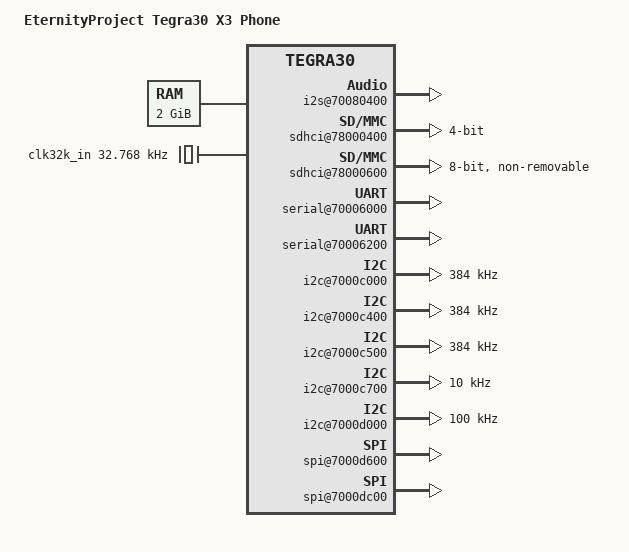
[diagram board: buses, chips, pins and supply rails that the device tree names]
/dts-v1/;

/include/ "tegra30.dtsi"

/**
 * This file contains DeviceTree entry for production version of X3.
 * May contain portions of code from EternityProject DT for ENR#U.
 *
 * Used symbols:
 * *M*: MUX
 * *P*: PULL
 * *S*: STATE
 * *L*: LOCK
 * *D*: DRAIN
 *
 * NC: Not Classified
 * TP: Test Point
 * EPH: External pull high
 * EPD: External pull down
 * (I): Input ONLY
 *
 * Copyright (C) 2013, EternityProject Development
 * Angelo G. Del Regno <kholk11@gmail.com>
 */

/* [TODO] Define:
 * 1. Sensors (Proximity, ambient light, accelerometer)
 * 2. Regulators
 * 3. Power rails of regulator
 * 4. What about physical buttons? (PWR, VOLUP, VOLDN)
 */

/ {
	model = "EternityProject Tegra30 X3 Phone";
	compatible = "nvidia,x3", "nvidia,tegra30";

	memory {
		reg = <0x80000000 0x80000000>;
	};

	pinmux {
		pinctrl-names = "default";
		pinctrl-0 = <&state_default>;

		state_default: pinmux {

			/* I2C MUX */
			gen1_i2c_scl_pc4 {
				nvidia,pins =	"gen1_i2c_scl_pc4",	/* UNKNOWN           */
						"gen1_i2c_sda_pc5";	/* UNKNOWN           */
				nvidia,function = "i2c1";
				nvidia,pull = <0>;			/* NORMAL     *P*/
				nvidia,tristate = <0>;			/* NORMAL     *S*/
				nvidia,enable-input = <1>;
				nvidia,lock = <0>;			/* UNLOCKED   *L*/
				nvidia,open-drain = <0>;		/* DISABLED   *D*/
			};

			gen2_i2c_scl_pt5 {
				nvidia,pins =	"gen2_i2c_scl_pt5",	/* MUIC_INIT         */
						"gen2_i2c_sda_pt6";	/* MUIC_INIT         */
				nvidia,function = "i2c2";
				nvidia,pull = <2>;			/* PULL_UP    *P*/
				nvidia,tristate = <0>;
				nvidia,enable-input = <1>;
				nvidia,lock = <0>;
				nvidia,open-drain = <0>;
			};

			cam_i2c_scl_pbb1 {
				nvidia,pins =	"cam_i2c_scl_pbb1",	/* CAM_I2C_SCL       */
						"cam_i2c_sda_pbb2";	/* CAM_I2C_SDA       */
				nvidia,function = "i2c3";
				nvidia,pull = <0>;
				nvidia,tristate = <0>;
				nvidia,enable-input = <1>;
				nvidia,lock = <0>;
				nvidia,open-drain = <0>;
			};

			ddc_scl_pv4 {
				nvidia,pins =	"ddc_scl_pv4",		/* HDMI_EDID         */
						"ddc_sda_pv5";		/* HDMI_EDID         */
				nvidia,function = "i2c4";
				nvidia,pull = <0>;
				nvidia,tristate = <0>;
				nvidia,enable-input = <1>;
				nvidia,lock = <0>;
				nvidia,open-drain = <0>;
			};

			pwr_i2c_scl_pz6 {
				nvidia,pins =	"pwr_i2c_scl_pz6",	/* UNKNOWN           */
						"pwr_i2c_sda_pz7";	/* UNKNOWN           */
				nvidia,function = "i2cpwr";
				nvidia,pull = <0>;
				nvidia,tristate = <0>;
				nvidia,enable-input = <1>;
				nvidia,lock = <0>;
				nvidia,open-drain = <0>;
			};

			/* 32k clock OUT: !!NC!! */
			clk_32k_out_pa0 {
				nvidia,pins = "clk_32k_out_pa0";	/* UNKNOWN           */
				nvidia,function = "blink";
				nvidia,pull = <0>;
				nvidia,tristate = <0>;
				nvidia,enable-input = <1>; /* Why the hell?! */
			};

			/* SDMMC3: TI WL1283 SDIO */
			sdmmc3_clk_pa6 {
				nvidia,pins = "sdmmc3_clk_pa6";		/* MICROSD_CLK       */
				nvidia,function = "sdmmc3";		/* SDMMC3 MUX *M*/
				nvidia,pull = <0>;			/* NORMAL     *P*/
				nvidia,tristate = <0>;
				nvidia,enable-input = <1>;
			};
			sdmmc3_cmd_pa7 {
				nvidia,pins =	"sdmmc3_cmd_pa7",	/* MICROSD_CMD       */
						"sdmmc3_dat0_pb7",	/* MICROSD_DAT0      */
						"sdmmc3_dat1_pb6",	/* MICROSD_DAT1      */
						"sdmmc3_dat2_pb5",	/* MICROSD_DAT2      */
						"sdmmc3_dat3_pb4";	/* MICROSD_DAT3      */
				nvidia,function = "sdmmc3";		/* SDMMC3 MUX *M*/
				nvidia,pull = <2>;			/* PULL_UP    *P*/
				nvidia,tristate = <0>;
				nvidia,enable-input = <1>;
			};

			/* SDMMC4: EMMC */
			sdmmc4_clk_pcc4 {
				nvidia,pins =	"sdmmc4_clk_pcc4";	/* eMMC_CLK          */
				nvidia,function = "sdmmc4";
				nvidia,pull = <0>;
				nvidia,tristate = <0>;
				nvidia,enable-input = <1>;
			};
			sdmmc4_rst_n_pcc3 {
				nvidia,pins =	"sdmmc4_rst_n_pcc3";	/* eMMC_RST_N        */
				nvidia,function = "rsvd1";
				nvidia,pull = <1>;			/* PULL_DOWN  *P*/
				nvidia,tristate = <0>;
				nvidia,enable-input = <1>;
			};
			sdmmc4_cmd_pt7 {
				nvidia,pins =	"sdmmc4_cmd_pt7",	/* eMMC_CMD          */
						"sdmmc4_dat0_paa0",	/* eMMC_DAT0         */
						"sdmmc4_dat1_paa1",	/* eMMC_DAT1         */
						"sdmmc4_dat2_paa2",	/* eMMC_DAT2         */
						"sdmmc4_dat3_paa3",	/* eMMC_DAT3         */
						"sdmmc4_dat4_paa4",	/* eMMC_DAT4         */
						"sdmmc4_dat5_paa5",	/* eMMC_DAT5         */
						"sdmmc4_dat6_paa6",	/* eMMC_DAT6         */
						"sdmmc4_dat7_paa7";	/* eMMC_DAT7         */
				nvidia,function="sdmmc4";
				nvidia,pull = <2>;			/* PULL_UP    *P*/
				nvidia,tristate = <0>;
				nvidia,enable-input = <1>;
			};

			/* UART2: UNKNOWN */
			uart2_txd_pc2 {
				nvidia,pins =	"uart2_txd_pc2";	/* UNKNOWN         */
				nvidia,function = "irda";
				nvidia,pull = <2>;
				nvidia,tristate = <0>;
				nvidia,enable-input = <1>;
			};
			uart2_rxd_pc3 {
				nvidia,pins =	"uart2_rxd_pc3";	/* UNKNOWN         */
				nvidia,function = "irda";
				nvidia,pull = <2>;
				nvidia,tristate = <0>;
				nvidia,enable-input = <0>;
			};
			uart2_cts_n_pj5 {
				nvidia,pins =	"uart2_cts_n_pj5",	/* UNKNOWN         */
						"uart2_rts_n_pj6";	/* UNKNOWN         */
				nvidia,function = "uartb";
				nvidia,pull = <0>;
				nvidia,tristate = <0>;
				nvidia,enable-input = <1>;
			};

			/* UART3: Bluetooth BCM4330 UART I/F */
			uart3_txd_pw6 {
				nvidia,pins =	"uart3_txd_pw6",	/* BT_RX_AP_TX     */
						"uart3_rts_n_pc0";	/* BT_CTS_AP_RTS   */
				nvidia,function = "uartc";		/* UARTC MUX  *M*/
				nvidia,pull = <0>;			/* NORMAL     *P*/
				nvidia,tristate = <0>;
				nvidia,enable-input = <0>;
			};
			uart3_rxd_pw7 {
				nvidia,pins =	"uart3_rxd_pw7",	/* BT_TX_AP_RX     */
						"uart3_cts_n_pa1";	/* BT_RTS_AP_CTS   */
				nvidia,function = "uartc";
				nvidia,pull = <0>;
				nvidia,tristate = <0>;
				nvidia,enable-input = <1>;
			};

			/* DAP1: MDM6600 INTERRUPTS???? */
			dap1_fs_pn0 {
				nvidia,pins =	"dap1_fs_pn0",		/* UNKNOWN          */
						"dap1_din_pn1",		/* UNKNOWN          */
						"dap1_dout_pn2",	/* UNKNOWN          */
						"dap1_sclk_pn3";	/* UNKNOWN          */
				nvidia,function = "i2s0";
				nvidia,pull = <0>;
				nvidia,tristate = <0>;
				nvidia,enable-input = <1>;
			};

			/* DAP2: AUDIO CODEC */
			dap2_fs_pa2 {
				nvidia,pins =	"dap2_fs_pa2",		/* UNKNOWN          */
						"dap2_sclk_pa3",	/* UNKNOWN          */
						"dap2_din_pa4",		/* UNKNOWN          */
						"dap2_dout_pa5";	/* UNKNOWN          */
				nvidia,function = "hda";
				nvidia,pull = <1>;			/* PULL_DOWN  *P*/
				nvidia,tristate = <0>;
				nvidia,enable-input = <1>;
			};

			/* DAP3: UNKNOWN */
			dap3_fs_pp0 {
				nvidia,pins =	"dap3_fs_pp0",		/* UNKNOWN          */
						"dap3_din_pp1",		/* UNKNOWN          */
						"dap3_dout_pp2",	/* UNKNOWN          */
						"dap3_sclk_pp3";	/* UNKNOWN          */
				nvidia,function = "i2s2";
				nvidia,pull = <0>;
				nvidia,tristate = <0>;
				nvidia,enable-input = <1>;
			};

			/* DAP4 I2S3: Bluetooth BCM4330 PCM I/F */
			dap4_din_pp1 {
				nvidia,pins =	"dap4_din_pp1",		/* BT_PCM_DIN       */
						"dap4_dout_pp6",	/* BT_PCM_DOUT      */
						"dap4_sclk_pp3",	/* BT_PCM_CLK       */
						"dap4_fs_pp4";		/* BT_PCM_SYNC      */
				nvidia,function = "i2s3";
				nvidia,pull = <0>;			/* NORMAL     *P*/
				nvidia,tristate = <0>;
				nvidia,enable-input = <1>;
			};

			/* SPDIF CONTROL */
			spdif_out_pk5 {
				nvidia,pins =	"spdif_out_pk5";	/* NC                */
				nvidia,function = "spdif";
				nvidia,pull = <2>;
				nvidia,tristate = <1>;
			};
			spdif_in_pk6 {
				nvidia,pins =	"spdif_in_pk6";		/* NC                */
				nvidia,function = "spdif";
				nvidia,pull = <0>;
				nvidia,tristate = <0>;
			};

			/* LCD PINS: MHL, MDM6600, CAM, PANEL */
			lcd_d0_pe0 {
				nvidia,pins =	"lcd_d0_pe0",		/* LCD_RGB_RGB_B_2   */
						"lcd_d1_pe1",		/* LCD_RGB_RGB_B_3   */
						"lcd_d2_pe0",		/* LCD_RGB_RGB_B_4   */
						"lcd_d3_pe3",		/* LCD_RGB_RGB_B_5   */
						"lcd_d4_pe4",		/* LCD_RGB_RGB_B_6   */
						"lcd_d5_pe5",		/* LCD_RGB_RGB_B_7   */
						"lcd_d6_pe6",		/* LCD_RGB_RGB_G_2   */
						"lcd_d7_pe7",		/* LCD_RGB_RGB_G_3   */
						"lcd_d8_pf0",		/* LCD_RGB_RGB_G_4   */
						"lcd_d9_pf1",		/* LCD_RGB_RGB_G_5   */
						"lcd_d10_pf2",		/* LCD_RGB_RGB_G_6   */
						"lcd_d11_pf3",		/* LCD_RGB_RGB_G_7   */
						"lcd_d12_pf4",		/* LCD_RGB_RGB_R_2   */
						"lcd_d13_pf5",          /* LCD_RGB_RGB_R_3   */
						"lcd_d14_pf6",		/* LCD_RGB_RGB_R_4   */
						"lcd_d15_pf7",		/* LCD_RGB_RGB_R_5   */
						"lcd_d16_pm0",		/* LCD_RGB_RGB_R_6   */
						"lcd_d17_pm1",		/* LCD_RGB_RGB_R_7   */
						"lcd_d18_pm2",		/* LCD_RGB_RGB_B_0   */
						"lcd_d19_pm3",		/* LCD_RGB_RGB_B_1   */
						"lcd_d20_pm4",          /* LCD_RGB_RGB_G_0   */
						"lcd_d21_pm5",		/* LCD_RGB_RGB_G_1   */
						"lcd_d22_pm6",		/* LCD_RGB_RGB_R_0   */
						"lcd_d23_pm7",		/* LCD_RGB_RGB_R_1   */
						"lcd_pclk_pb3",		/* LCD_RGB_PCLK      */
						"lcd_de_pj1",		/* LCD_RGB_DE        */
						"lcd_hsync_pj3",	/* LCD_RGB_HSYNC     */
						"lcd_vsync_pj4",	/* LCD_RGB_VSYNC     */
						"lcd_wr_n_pz3";		/* UNKNOWN           */
				nvidia,function = "displaya";
				nvidia,pull = <0>;			/* NORMAL     *P*/
				nvidia,tristate = <0>;
				nvidia,enable-input = <1>;
			};

			lcd_m1_pw1 {
				nvidia,pins =	"lcd_m1_pw1";		/* LCD_MAKER_ID      */
				nvidia,function = "displaya";
				nvidia,pull = <0>;			/* NORMAL     *P*/
				nvidia,tristate = <1>;			
			};

			lcd_pwr0_pb2 {
				nvidia,pins =	"lcd_pwr0_pb2",		/* UNKNOWN           */
						"lcd_pwr1_pc1";		/* UNKNOWN           */
				nvidia,function = "displaya";
				nvidia,pull = <0>;
				nvidia,tristate = <0>;
				nvidia,enable-input = <0>;
			};

			lcd_sdout_pn5 {
				nvidia,pins =	"lcd_sdout_pn5",	/* LCD_RGB_SDO       */
						"lcd_sdin_pz2",		/* LCD_RGB_SDI       */
						"lcd_sck_pz4",		/* LCD_RGB_SCL       */
						"lcd_cs0_n_pn4";        /* LCD_RGB_CS        */
				nvidia,function = "spi5";
				nvidia,pull = <0>;
				nvidia,tristate = <0>;
				nvidia,enable-input = <1>;
			};

			lcd_cs1_n_pw0 {
				nvidia,pins =	"lcd_cs1_n_pw0";	/* LCD_RESET_N       */
				nvidia,function = "rsvd2";
				nvidia,pull = <2>;			/* PULL_UP    *P*/
				nvidia,tristate = <0>;
				nvidia,enable-input = <0>;
			};

			lcd_dc0_pn6 {
				nvidia,pins =	"lcd_dc0_pn6",		/* UNKNOWN           */
						"lcd_dc1_pd2";		/* SENSOR_LDO_EN_2   */
				nvidia,function = "rsvd1";
				nvidia,pull = <0>;			/* NORMAL     *P*/
				nvidia,tristate = <0>;
				nvidia,enable-input = <0>;
			};

			/* GMI PINS */
			gmi_ad0_pg0 {
				nvidia,pins =	"gmi_ad0_pg0",		/* UNKNOWN           */
						"gmi_ad1_pg1",		/* UNKNOWN           */
						"gmi_ad2_pg2",		/* UNKNOWN           */
						"gmi_ad3_pg3",		/* UNKNOWN           */
						"gmi_ad4_pg4",		/* UNKNOWN           */
						"gmi_ad5_pg5",		/* UNKNOWN           */
						"gmi_ad6_pg6",		/* UNKNOWN           */
						"gmi_ad7_pg7",		/* UNKNOWN           */
						"gmi_ad15_ph7";		/* UNKNOWN           */
				nvidia,function = "gmi";
				nvidia,pull = <0>;
				nvidia,tristate = <1>;
				nvidia,enable-input = <1>;
			};

			gmi_ad8_ph0 {
				nvidia,pins =	"gmi_ad8_ph0",		/* UNKNOWN           */
						"gmi_ad9_ph1";		/* UNKNOWN           */
				nvidia,function = "gmi";
				nvidia,pull = <1>;			/* PULL_DOWN  *P*/
				nvidia,tristate = <0>;
				nvidia,enable-input = <1>;
			};

			gmi_ad10_ph2 {
				nvidia,pins = "gmi_ad10_ph2";		/* SENSOR_LDO_EN(AMI)*/
				nvidia,function = "gmi";
				nvidia,pull = <0>;			/* NORMAL     *P*/
				nvidia,tristate = <0>;
			};

/*			gmi_cs0_n_pj0 {
				nvidia,pins = "gmi_cs0_n_pj0";
				nvidia,function = "gmi";
				nvidia,pull = <2>;
				nvidia,tristate = <1>;
				nvidia,enable-input = <1>;
			};*/

			gmi_cs0_n_pj0 {
				nvidia,pins = "gmi_cs0_n_pj0";		/* MUIC_INIT         */
				nvidia,function = "rsvd1";
				nvidia,pull = <2>;			/* PULL_UP    *P*/
				nvidia,tristate = <0>;
				nvidia,enable-input = <1>;
			};

			gmi_cs1_n_pj2 {
				nvidia,pins =	"gmi_cs1_n_pj2",	/* UNKNOWN           */
						"gmi_cs4_n_pk2";	/* PROX_AMBIENT_INT  */
				nvidia,function = "rsvd1";
				nvidia,pull = <2>;			/* PULL_UP    *P*/
				nvidia,tristate = <0>;
				nvidia,enable-input = <1>;
			};

			gmi_cs2_n_pk3 {
				nvidia,pins =	"gmi_cs2_n_pk3",	/* NC                */
						"gmi_cs3_n_pk4";        /* NC                */
				nvidia,function = "rsvd1";
				nvidia,pull = <0>;
				nvidia,tristate = <0>;
				nvidia,enable-input = <0>;
			};

			gmi_cs7_n_pi6 {
				nvidia,pins =	"gmi_cs7_n_pi6";	/* UNKNOWN           */
				nvidia,function = "rsvd1";
				nvidia,pull = <2>;			/* PULL_UP    *P*/
				nvidia,tristate = <0>;
				nvidia,enable-input = <1>;
			};


			gmi_ad11_ph3 {
				nvidia,pins =	"gmi_ad11_ph3";		/* NC                */
				nvidia,function = "pwm3";
				nvidia,pull = <0>;
				nvidia,tristate = <0>;
			};

			gmi_ad12_ph4 {
				nvidia,pins =	"gmi_ad12_ph4",		/* SENSOR_INT-MPU6050*/
						"gmi_ad13_ph5";		/* COMPASS_READY(AMI)*/
				nvidia,function = "rsvd2";
				nvidia,pull = <2>;
				nvidia,tristate = <0>;
				nvidia,enable-input = <1>;
			};

			gmi_ad14_ph6 {
				nvidia,pins =	"gmi_ad14_ph6";		/* UNKNOWN           */
				nvidia,function = "gmi";
				nvidia,pull = <0>;
				nvidia,tristate = <0>;
			};

			gmi_a16_pj7 {
				nvidia,pins =	"gmi_a16_pj7",		/* UNKNOWN           */
						"gmi_a19_pk7";		/* UNKNOWN           */
				nvidia,function = "uartd";
				nvidia,pull = <0>;
				nvidia,tristate = <0>;
			};
			gmi_a17_pb0 {
				nvidia,pins =	"gmi_a17_pb0";		/* UNKNOWN           */
				nvidia,function = "uartd";
				nvidia,pull = <0>;			/* NORMAL     *P*/
				nvidia,tristate = <0>;
				nvidia,enable-input = <1>;
			};
			gmi_a18_pb1 {
				nvidia,pins =	"gmi_a18_pb1";		/* RGB_IC_EN         */
				nvidia,function = "gmi";
				nvidia,pull = <1>;			/* PULL_DOWN  *P*/
				nvidia,tristate = <0>;
				nvidia,enable-input = <0>;
			};

			gmi_wr_n_pi0 {
				nvidia,pins =	"gmi_wr_n_pi0";		/* UNKNOWN           */
				nvidia,function = "gmi";
				nvidia,pull = <0>;
				nvidia,tristate = <0>;
				nvidia,enable-input = <1>;
			};

			gmi_oe_n_pi1 {
				nvidia,pins =	"gmi_oe_n_pi1";		/* UNKNOWN           */
				nvidia,function = "rsvd1";
				nvidia,pull = <0>;
				nvidia,tristate = <1>;
				nvidia,enable-input = <1>;
			};

			gmi_dqs_pi2 {
				nvidia,pins =	"gmi_dqs_pi2";		/* UNKNOWN           */
				nvidia,function = "gmi";
				nvidia,pull = <0>;
				nvidia,tristate = <0>;
				nvidia,enable-input = <1>;
			};

			gmi_adv_n_pk0 {
				nvidia,pins =	"gmi_adv_n_pk0",	/* UNKNOWN           */
						"gmi_clk_pk1";		/* UNKNOWN           */
				nvidia,function = "gmi";
				nvidia,pull = <0>;
				nvidia,tristate = <0>;
				nvidia,enable-input = <1>;
			};

			gmi_wait_pi7 {
				nvidia,pins =	"gmi_wait_pi7",		/* UNKNOWN           */
						"gmi_rst_n_pi4";
				nvidia,function = "gmi";
				nvidia,pull = <2>;
				nvidia,tristate = <0>;
				nvidia,enable-input = <1>;
			};

			gmi_cs6_n_pi3 {
				nvidia,pins =	"gmi_cs6_n_pi3";	/* UNKNOWN           */
				nvidia,function = "gmi";
				nvidia,pull = <2>;			/* PULL_UP    *P*/
				nvidia,tristate = <0>;
				nvidia,enable-input = <1>;
			};

			gmi_wp_n_pc7 {
				nvidia,pins =	"gmi_wp_n_pc7";		/* POWER_KEY???      */
				nvidia,function = "gmi";
				nvidia,pull = <2>;			/* PULL_UP    *P*/
				nvidia,tristate = <0>;
				nvidia,enable-input = <1>;
			};

			gmi_iordy_pi5 {
				nvidia,pins =	"gmi_iordy_pi5";	/* SDMMC1 CD GPIO    */
				nvidia,function = "rsvd1";
				nvidia,pull = <2>;			/* PULL_UP    *P*/
				nvidia,tristate = <0>;                  /* NORMAL     *S*/
				nvidia,enable-input = <1>;
			};

			/* TEGRA KEYBOARD PINS */
			kb_col0_pq0 {
				nvidia,pins =	"kb_col0_pq0",		/* NC                */
						"kb_col2_pq2",		/* TOUCH_MAKER_ID    */
						"kb_col4_pq4",		/* NC                */
						"kb_col5_pq5";		/* NC                */
				nvidia,function = "kbc";
				nvidia,pull = <2>;			/* PULL_UP    *P*/
				nvidia,tristate = <0>;
				nvidia,enable-input = <1>;
			};

			kb_col1_pq1 {
				nvidia,pins =	"kb_col1_pq1";		/* TOUCH_LDO_EN       */
				nvidia,function = "kbc";
				nvidia,pull = <0>;
				nvidia,tristate = <0>;
				nvidia,enable-input = <1>;
			};
			kb_col3_pq3 {
				nvidia,pins =	"kb_col3_pq3";		/* TOUCH_INT_N       */
				nvidia,function = "kbc";
				nvidia,pull = <0>;
				nvidia,tristate = <0>;
				nvidia,enable-input = <0>;
			};

			/* TEGRA KEYBOARD PINS (REMAPPED) */
			kb_row0_pr0 {
				nvidia,pins =	"kb_row0_pr0";		/* NFC_MODE      */
				nvidia,function = "rsvd";
				nvidia,pull = <0>;
				nvidia,tristate = <0>;			/* TRISTATE?? *S*/
				nvidia,enable-input = <0>;
			};

			kb_row1_pr1 {
				nvidia,pins =	"kb_row1_pr1",		/* UNKNOWN           */
						"kb_row8_ps0",		/* UNKNOWN           */
						"kb_row13_ps5";		/* CP_CRASH_INT      */
				nvidia,function = "kbc";
				nvidia,pull = <0>;
				nvidia,tristate = <0>;
			};

			kb_row2_pr2 {
				nvidia,pins =	"kb_row2_pr2";		/* UNKNOWN           */
				nvidia,function = "rsvd3";
				nvidia,pull = <1>;
				nvidia,tristate = <0>;
				nvidia,enable-input = <0>;
			};

			kb_row3_pr3 {
				nvidia,pins =	"kb_row3_pr3";		/* PROXI_LDO_EN-APDS */
				nvidia,function = "rsvd2";
				nvidia,pull = <0>;
				nvidia,tristate = <0>;
				nvidia,enable-input = <0>;
			};

			kb_row4_pr4 {
				nvidia,pins =	"kb_row4_pr4";		/* UNKNOWN           */
				nvidia,function = "rsvd3";
				nvidia,pull = <1>;
				nvidia,tristate = <0>;
				nvidia,enable-input = <0>;
			};

			kb_row6_pr6 {
				nvidia,pins =	"kb_row6_pr6",		/* UNKNOWN           */
						"kb_row7_pr7",		/* UNKNOWN           */
						"kb_row9_ps1",		/* UNKNOWN           */
						"kb_row10_ps2",		/* UNKNOWN           */
						"kb_row12_ps4";		/* BT_HOST_WAKEUP    */
				nvidia,function = "kbc";
				nvidia,pull = <1>;
				nvidia,tristate = <0>;
				nvidia,enable-input = <1>;
			};

			kb_row11_ps3 {
				nvidia,pins =	"kb_row11_ps3";		/* BT_WAKEUP         */
				nvidia,function = "kbc";
				nvidia,pull = <1>;
				nvidia,tristate = <0>;
				nvidia,enable-input = <0>;
			};

			kb_row14_ps6 {
				nvidia,pins =	"kb_row14_ps6";		/* suspend_request   */
				nvidia,function = "kbc";
				nvidia,pull = <0>;
				nvidia,tristate = <0>;
				nvidia,enable-input = <1>;
			};

			kb_row15_ps7 {
				nvidia,pins =	"kb_row15_ps7";		/* slave-wakeup      */
				nvidia,function = "kbc";
				nvidia,pull = <1>;
				nvidia,tristate = <0>;
				nvidia,enable-input = <0>;
			};

			/* ULPI ON SPI3 */
			ulpi_data0_po1 {
				nvidia,pins =	"ulpi_data0_po1";	/* TOUCH_RESET_N     */
				nvidia,function = "spi3";
				nvidia,pull = <2>;
				nvidia,tristate = <1>;
			};

			ulpi_data2_po3 {
				nvidia,pins =	"ulpi_data2_po3";	/* NC                */
				nvidia,function = "spi3";
				nvidia,pull = <2>;
				nvidia,tristate = <1>;
				nvidia,enable-input = <1>;
			};
			ulpi_data3_po4 {
				nvidia,pins =	"ulpi_data3_po4";	/* UNKNOWN           */
				nvidia,function = "spi3";
				nvidia,pull = <2>;
				nvidia,tristate = <0>;
				nvidia,enable-input = <1>;
			};

			ulpi_data4_po5 {
				nvidia,pins =	"ulpi_data4_po5";	/* UNKNOWN           */
				nvidia,function = "ulpi";
				nvidia,pull = <2>;
				nvidia,tristate = <0>;
				nvidia,enable-input = <1>;
			};

			ulpi_clk_py0 {
				nvidia,pins =	"ulpi_clk_py0";		/* LCD_EN            */
				nvidia,function = "rsvd";
				nvidia,pull = <1>;
				nvidia,tristate = <0>;
			};

			ulpi_dir_py1 {
				nvidia,pins =	"ulpi_dir_py1";		/* UNKNOWN           */
				nvidia,function = "rsvd";
				nvidia,pull = <2>;
				nvidia,tristate = <0>;
			};

			ulpi_stp_py3 {
				nvidia,pins =	"ulpi_stp_py3";		/* MUIC_INIT         */
				nvidia,function = "spi1";
				nvidia,pull = <0>;
				nvidia,tristate = <0>;
			};

			ulpi_nxt_py2 {
				nvidia,pins =	"ulpi_nxt_py2";		/* UNKNOWN           */
				nvidia,function = "rsvd";
				nvidia,pull = <0>;
				nvidia,tristate = <0>;
			};


			/* UART-A GPIOs */
			pu0 {
				nvidia,pins =	"pu0";
				nvidia,function = "uarta";
				nvidia,pull = <2>;
				nvidia,tristate = <0>;
				nvidia,enable-input = <0>;
			};

			pu1 {
				nvidia,pins =	"pu1";
				nvidia,function = "uarta";
				nvidia,pull = <2>;
				nvidia,tristate = <0>;
				nvidia,enable-input = <1>;
			};

			pu2 {
				nvidia,pins =	"pu2";
				nvidia,function = "uarta";
				nvidia,pull = <0>;
				nvidia,tristate = <0>;
				nvidia,enable-input = <1>;
			};

			pu3 {
				nvidia,pins =	"pu3";
				nvidia,function = "uarta";
				nvidia,pull = <0>;
				nvidia,tristate = <0>;
				nvidia,enable-input = <0>;
			};


			/* PWM GPIOs */
			pu4 {
				nvidia,pins =	"pu4";
				nvidia,function = "pwm1";
				nvidia,pull = <0>;
				nvidia,tristate = <1>;
				nvidia,enable-input = <1>;
			};

			pu6 {
				nvidia,pins =	"pu4";
				nvidia,function = "pwm3";
				nvidia,pull = <1>;
				nvidia,tristate = <0>;
				nvidia,enable-input = <1>;
			};

			/* RESERVED GPIOs */
			pv0 {
				nvidia,pins =	"pv0";			/* HOST_WAKEUP(MDM)  */
				nvidia,function = "rsvd";
				nvidia,pull = <2>;
				nvidia,tristate = <0>;
				nvidia,enable-input = <1>;
			};

			pv1 {
				nvidia,pins =	"pv1";			/* MUIC_INIT         */
				nvidia,function = "rsvd";
				nvidia,pull = <0>;
				nvidia,tristate = <0>;
				nvidia,enable-input = <0>;
			};

			pv3 {
				nvidia,pins =	"pv3";
				nvidia,function = "rsvd1";
				nvidia,pull = <1>;
				nvidia,tristate = <0>;
				nvidia,enable-input = <1>;
			};

			pu5 {
				nvidia,pins =	"pu5";			/* HOST_ACTIVE       */
				nvidia,function = "rsvd1";
				nvidia,pull = <1>;
				nvidia,tristate = <0>;
				nvidia,enable-input = <0>;
			};

			pcc1 {
				nvidia,pins =	"pcc1";			/* MUIC_INIT         */
				nvidia,function = "rsvd2";
				nvidia,pull = <0>;
				nvidia,tristate = <0>;
				nvidia,enable-input = <0>;
			};

			pcc2 {
				nvidia,pins =	"pcc2";			/* MUIC_INIT         */
				nvidia,function = "rsvd2";
				nvidia,pull = <0>;
				nvidia,tristate = <0>;
				nvidia,enable-input = <0>;
			};

			pv2 {
				nvidia,pins =	"pv2";
				nvidia,function = "owr";
				nvidia,pull = <0>;
				nvidia,tristate = <0>;
				nvidia,enable-input = <0>;
			};

			pbb0 {
				nvidia,pins =	"pbb0",
						"pbb7";
				nvidia,function = "i2s4";
				nvidia,pull = <0>;
				nvidia,tristate = <1>;
				nvidia,enable-input = <1>;
			};

			pbb3 {
				nvidia,pins =	"pbb3";
				nvidia,function = "vgp3";
				nvidia,pull = <0>;
				nvidia,tristate = <0>;
				nvidia,enable-input = <0>;
			};

			pbb4 {
				nvidia,pins =	"pbb4";			/* SUB_CAM_RESET_N   */
				nvidia,function = "vgp4";
				nvidia,pull = <0>;
				nvidia,tristate = <0>;
				nvidia,enable-input = <0>;
			};

			pbb5 {
				nvidia,pins =	"pbb5";			/* SUB_CAM_RESET_N   */
				nvidia,function = "vgp5";
				nvidia,pull = <0>;
				nvidia,tristate = <0>;
				nvidia,enable-input = <0>;
			};

			pbb6 {
				nvidia,pins =	"pbb6";
				nvidia,function = "vgp6";
				nvidia,pull = <0>;
				nvidia,tristate = <0>;
				nvidia,enable-input = <1>;
			};


			/* SPI 1 */
			spi1_mosi_px4 {
				nvidia,pins =	"spi1_mosi_px4";	/* TOUCH_LDO_EN2     */
				nvidia,function = "spi2";
				nvidia,pull = <0>;
				nvidia,tristate = <0>;
				nvidia,enable-input = <0>;
			};

			spi1_sck_px5 {
				nvidia,pins =	"spi1_sck_px5";		/* NFC_VEN           */
				nvidia,function = "spi2";
				nvidia,pull = <2>;			/* PULL_UP    *P*/
				nvidia,tristate = <0>;
				nvidia,enable-input = <0>;
			};

			spi1_miso_px7 {
				nvidia,pins =	"spi1_miso_px7";	/* SENSOR_LDO_EN-MPU+AMI*/
				nvidia,function = "rsvd3";
				nvidia,pull = <0>;
				nvidia,tristate = <0>;
			};

			/* SPI 2 */
			spi2_mosi_px0 {
				nvidia,pins =	"spi2_mosi_px0";
				nvidia,function = "spi2";
				nvidia,pull = <1>;
				nvidia,tristate = <0>;
			};
			spi2_miso_px1 {
				nvidia,pins =	"spi2_miso_px1";	/* PROXI_LDO_EN(APDS)*/
				nvidia,function = "gmi";
				nvidia,pull = <0>;
				nvidia,tristate = <0>;
				nvidia,enable-input = <0>;
			};
			spi2_cs1_n_pw2 {
				nvidia,pins =	"spi2_cs1_n_pw2";	/* NFC_IRQ           */
				nvidia,function = "spi2";
				nvidia,pull = <0>;			/* NORMAL     *P*/
				nvidia,tristate = <0>;
				nvidia,enable-input = <1>;
			};

			/* VIDEO: HDMI(MHL) and CAMERA */
			hdmi_int_pn7 {
				nvidia,pins =	"hdmi_int_pn7";		/* MHL_HPD           */
				nvidia,function = "rsvd0";
				nvidia,pull = <0>;
				nvidia,tristate = <1>;			/* TRISTATE?? *S*/
				nvidia,enable-input = <1>;
			};

			hdmi_cec_pee3 {
				nvidia,pins =	"hdmi_cec_pee3";	/* NC                */
				nvidia,function = "cec";
				nvidia,pull = <0>;
				nvidia,tristate = <1>;
				nvidia,enable-input = <1>;
				nvidia,open-drain = <0>;
			};

			crt_vsync_pv7 {
				nvidia,pins =	"crt_vsync_pv7",	/*                   */
						"crt_hsync_pv6";
				nvidia,function = "rsvd1";
				nvidia,pull = <0>;
				nvidia,tristate = <0>;
				nvidia,enable-input = <1>;
			};

			cam_mclk_pcc0 {
				nvidia,pins =	"cam_mclk_pcc0";	/* CAM_MCLK          */
				nvidia,function = "vi_alt2";
				nvidia,pull = <2>;
				nvidia,tristate = <0>;
				nvidia,enable-input = <1>;
			};


			/* SDMMC1 PINS: BCM4330 Firmware */
			sdmmc1_dat0_py7 {
				nvidia,pins =	"sdmmc1_dat0_py7",	/* SDMMC1_DAT0       */
						"sdmmc1_dat1_py6",	/* SDMMC1_DAT1       */
						"sdmmc1_dat2_py5",	/* SDMMC1_DAT2       */
						"sdmmc1_dat3_py4",	/* SDMMC1_DAT3       */
						"sdmmc1_cmd_pz1";	/* SDMMC1_CMD        */
				nvidia,function = "sdmmc1";
				nvidia,pull = <2>;			/* PULL_UP    *P*/
				nvidia,tristate = <0>;
				nvidia,enable-input = <1>;
			};
			sdmmc1_clk_pz0 {
				nvidia,pins =	"sdmmc1_clk_pz0";	/* SDMMC1_CLK        */
				nvidia,function = "sdmmc1";
				nvidia,pull = <0>;
				nvidia,tristate = <0>;
				nvidia,enable-input = <1>;
			};

			/* Power rails GPIO */
			vi_d6_pl4 {
				nvidia,pins =	"vi_d6_pl4";		/* UNKNOWN           */
				nvidia,function = "vi";
				nvidia,pull = <0>;
				nvidia,tristate = <0>;
				nvidia,enable-input = <0>;
				nvidia,lock = <0>;
				nvidia,io-reset = <0>;
			};
			vi_d8_pl6 {
				nvidia,pins =	"vi_d8_pl6",		/* UNKNOWN           */
						"vi_d9_pl7";		/* UNKNOWN           */
				nvidia,function = "sdmmc2";
				nvidia,pull = <0>;
				nvidia,tristate = <0>;
				nvidia,enable-input = <1>;
				nvidia,lock = <0>;
				nvidia,io-reset = <0>;
			};
			vi_pclk_pt0 {
				nvidia,pins =	"vi_pclk_pt0";		/* UNKNOWN           */
				nvidia,function = "rsvd1";
				nvidia,pull = <2>;
				nvidia,tristate = <1>;
				nvidia,enable-input = <1>;
				nvidia,lock = <0>;
				nvidia,io-reset = <1>;
			};
			vi_hsync_pv6 {
				nvidia,pins =	"vi_hsync_pv6",		/* UNKNOWN           */
						"vi_hsync_pv7";		/* UNKNOWN           */
				nvidia,function = "rsvd1";
				nvidia,pull = <0>;
				nvidia,tristate = <0>;
				nvidia,enable-input = <1>;
				nvidia,lock = <0>;
				nvidia,io-reset = <0>;
			};

			/* VI PINs */
			vi_d1_pd5 {
				nvidia,pins =	"vi_d1_pd5",
						"vi_d2_pl0",
						"vi_d3_pl1",
						"vi_d5_pl3",
						"vi_d7_pl5";
				nvidia,function = "sdmmc2";
				nvidia,pull = <0>;
				nvidia,tristate = <0>;
				nvidia,enable-input = <1>;
			};
			vi_d4_pl2 {
				nvidia,pins =	"vi_d4_pl2";
				nvidia,function = "vi";
				nvidia,pull = <0>;
				nvidia,tristate = <0>;
				nvidia,enable-input = <0>;
			};
			vi_mclk_pt1 {
				nvidia,pins =	"vi_mclk_pt1";
				nvidia,function = "vi";
				nvidia,pull = <2>;
				nvidia,tristate = <0>;
				nvidia,enable-input = <1>;
			};
			vi_d0_pt4 {
				nvidia,pins =	"vi_d0_pt4",
						"vi_d10_pt2";
				nvidia,function = "rsvd1";
				nvidia,pull = <0>;
				nvidia,tristate = <0>;
				nvidia,enable-input = <1>;
			};
			vi_d11_pt3 {
				nvidia,pins =	"vi_d11_pt3";
				nvidia,function = "rsvd1";
				nvidia,pull = <2>;
				nvidia,tristate = <0>;
				nvidia,enable-input = <1>;
			};

			/* PCI-Express PINs */
			pex_l0_prsnt_n_pdd0 {
				nvidia,pins =	"pex_l0_prsnt_n_pdd0",
						"pex_l0_clkreq_n_pdd2",
						"pex_wake_n_pdd3",
						"pex_l2_prsnt_n_pdd7",
						"pex_l2_rst_n_pcc6",
						"pex_l2_clkreq_n_pcc7";
				nvidia,function = "pcie";
				nvidia,pull = <0>;
				nvidia,tristate = <1>;
				nvidia,enable-input = <1>;
			};
			pex_l0_rst_n_pdd1 {
				nvidia,pins =	"pex_l0_rst_n_pdd1";
				nvidia,function = "pcie";
				nvidia,pull = <0>;
				nvidia,tristate = <1>;
				nvidia,enable-input = <0>;
			};
			pex_l1_prsnt_n_pdd4 {
				nvidia,pins =	"pex_l1_prsnt_n_pdd4",
						"pex_l1_clkreq_n_pdd6";
				nvidia,function = "pcie";
				nvidia,pull = <0>;
				nvidia,tristate = <0>;
				nvidia,enable-input = <1>;
			};
			pex_l1_rst_n_pdd5 {
				nvidia,pins =	"pex_l1_rst_n_pdd5";
				nvidia,function = "pcie";
				nvidia,pull = <0>;
				nvidia,tristate = <0>;
				nvidia,enable-input = <0>;
			};

			/* Various pins */
			jtag_rtck_pu7 {
				nvidia,pins =	"jtag_rtck_pu7";	/* JTAG              */
				nvidia,function = "rtck";
				nvidia,pull = <0>;
				nvidia,tristate = <0>;
				nvidia,enable-input = <0>;
			};

			owr {
				nvidia,pins =	"owr";			/* OWR?!             */
				nvidia,function = "owr";
				nvidia,pull = <0>;
				nvidia,tristate = <0>;
				nvidia,enable-input = <1>;
			};

			/* Various clocks */
			clk1_out_pw4 {
				nvidia,pins =	"clk1_out_pw4";		/* UNKNOWN           */
				nvidia,function = "extperiph1";
				nvidia,pull = <1>;			/* PULL_DOWN  *P*/
				nvidia,tristate = <0>;
				nvidia,enable-input = <1>;
			};
			clk2_out_pw5 {
				nvidia,pins =	"clk2_out_pw5";		/* UNKNOWN           */
				nvidia,function = "rsvd1";
				nvidia,pull = <2>;			/* PULL_UP    *P*/
				nvidia,tristate = <0>;
				nvidia,enable-input = <1>;
			};
			clk3_out_pee0 {
				nvidia,pins =	"clk3_out_pee0";	/* MIPI_BRIDGE_CLK   */
				nvidia,function = "extperiph3";
				nvidia,pull = <0>;
				nvidia,tristate = <0>;
				nvidia,enable-input = <1>;
			};
			clk1_req_pee2 {
				nvidia,pins =	"clk1_req_pee2";	/* UNKNOWN           */
				nvidia,function = "dap";
				nvidia,pull = <0>;
				nvidia,tristate = <0>;
				nvidia,enable-input = <1>;
			};
			clk2_req_pcc5 {
				nvidia,pins =	"clk2_req_pcc5";	/* BT_RESET          */
				nvidia,function = "dap";
				nvidia,pull = <0>;
				nvidia,tristate = <0>;
			};
			clk3_req_pee1 {
				nvidia,pins=	"clk3_req_pee1";	/* UNKNOWN           */
				nvidia,function = "dev3";
				nvidia,pull = <0>;
				nvidia,tristate = <0>;			/* NORMAL     *S*/
				nvidia,enable-input = <1>;
			};

			/* SYS clock */
			sys_clk_req_pz5 {
				nvidia,pins = "sys_clk_req_pz5";	/* SYS               */
				nvidia,functions = "sysclk";
				nvidia,pull = <0>;
				nvidia,tristate = <0>;
				nvidia,enable-input = <1>;
			};
		};
	};

	ahub {
		i2s@70080400 {
			status = "okay";
		};
	};

	pmc {
		status = "okay";
		nvidia,invert-interrupt;
		nvidia,suspend-mode = <0>;
		nvidia,cpu-pwr-good-time = <600>;
		nvidia,cpu-pwr-off-time = <200>;
		nvidia,core-pwr-good-time = <2849 2849>;
		nvidia,core-pwr-off-time = <0>;
		nvidia,core-power-req-active-high;
		nvidia,sys-clock-req-active-high;
		nvidia,lp0-vec = <0xbc0a8000 0x2000>;
	};

	/* TI WL1283 SDIO */
	sdhci@78000400 {
		status = "okay";
		bus-width = <4>;
		broken-cd; /* There is no card detection available; polling must be used??? */
	};

	/* EMMC */
	sdhci@78000600 {
		status = "okay";
		bus-width = <8>;
		non-removable; /* as it is an eMMC, obviously */
	};

	serial@70006000 {
		status = "okay";
	};

	serial@70006200 {
		compatible = "nvidia,tegra30-hsuart";
		status = "okay";
	};

	/* i2c1 */
	i2c@7000c000 {
		status = "okay";
		clock-frequency = <384000>;

		/* TI TLV320AIC3008 is on SPI1 */
	};

	/* i2c2 */
	i2c@7000c400 {
		status = "okay";
		clock-frequency = <384000>;
	};

	/* i2c3 */
	i2c@7000c500 {
		status = "okay";
		clock-frequency = <384000>;
	};

	/* i2c4 */
	i2c@7000c700 {
		status = "okay";
		clock-frequency = <10000>;
	};

	/* i2c5 */
	i2c@7000d000 {
		status = "okay";
		clock-frequency = <100000>;
	};

	/* SPI1? */
	spi@7000d600 {
		status = "okay";
		spi-max-frequency = <10800000>;
		/* AIC3008 is on SPI1, bus_num 1 */
		/* Define AIC3008 parameters here, please. */
	};

	/* SPI4? */
	spi@7000dc00 {
		status = "okay";
		spi-max-frequency = <25000000>;
		/* HTC rawchip is on SPI4, bus_num 3 */
		/* Define RAWCHIP parameters here, please. */
	};

	clocks {
		compatible = "simple-bus";
		#address-cells = <1>;
		#size-cells = <0>;

		clk32k_in: clock {
			compatible = "fixed-clock";
			reg=<0>;
			#clock-cells = <0>;
			clock-frequency = <32768>;
		};
	};

	/* tegra-snd-aic3008 // AIC3008 chip */
	sound {
		compatible = "nvidia,eprj-audio-tlv320aic3008-endeavoru",
			     "nvidia,eprj-audio-tlv320aic3008";
		nvidia,model = "EternityProject TLV320AIC3008 Audio for ENRU";

/*		nvidia,i2s-controller = <&tegra_i2s1>;*/
/*		nvidia,audio-codec = <&aic3008>;*/
	};
};
